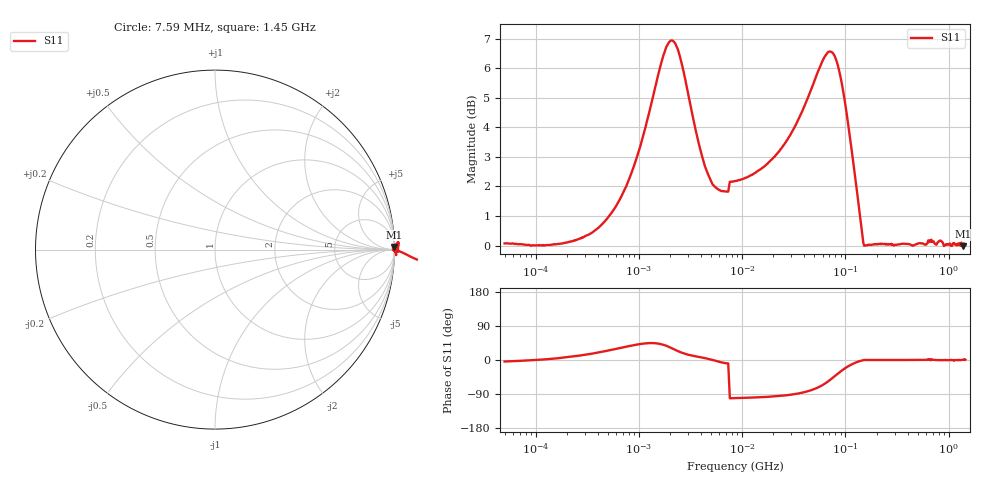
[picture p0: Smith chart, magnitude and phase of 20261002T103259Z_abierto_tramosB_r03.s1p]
! piloto_saltos / abierto_tramosB / r03
# HZ S RI R 50
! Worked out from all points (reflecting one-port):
!   501 points, 50 kHz to 1.45 GHz, reference 50 ohm
!   lowest |S11| = 0.0 dB at 1.381 GHz (marker M1), VSWR 794.56, Z = 1.23e+03 + j6.88e+03 ohm
!   phase of S11 starts at -4 deg and turns +5 deg over the sweep
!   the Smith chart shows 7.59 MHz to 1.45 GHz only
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50000  1.006 -0.0695
182500  1.003 0.106
381000  1.008 0.3372
678000  1.023 0.6511
1164000  1.146 1.104
1623000  1.501 1.352
1947000  1.81 1.258
2379000  1.965 0.8606
2757000  1.855 0.557
3000000  1.751 0.4335
4620000  1.323 0.0796
6780000  1.222 -0.173
8130000  -0.2386 -1.261
8670000  -0.2335 -1.265
1.812e7  -0.1678 -1.374
3.27e7  0.00659 -1.594
4.08e7  0.172 -1.727
4.89e7  0.403 -1.834
6.51e7  1.052 -1.823
7.32e7  1.376 -1.62
8.67e7  1.651 -1.09
9.75e7  1.633 -0.6977
1.137e8  1.436 -0.3094
1.326e8  1.187 -0.0886
1.542e8  0.9993 0.000789
4.035e8  1.006 0.00192
1.381e9  0.9974 0.0141
1.45e9  1.002 0.0141
